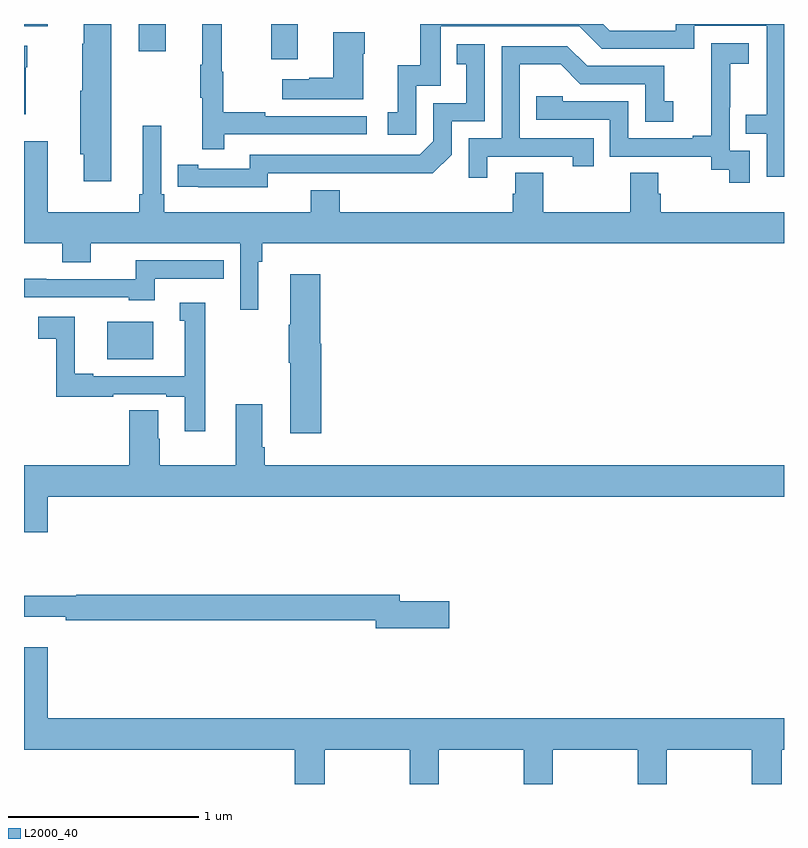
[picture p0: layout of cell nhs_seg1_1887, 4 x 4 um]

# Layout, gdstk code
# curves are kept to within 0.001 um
import gdstk
lib = gdstk.Library(unit=1e-6, precision=1e-09)
def R(c, l, rs):  # rectangles x0, y0, x1, y1
    for r in rs: c.add(gdstk.rectangle(r[:2], r[2:], *l))
def P(c, l, *ps):  # polygons
    for p in ps: c.add(gdstk.Polygon(p, *l))
L2000_40 = (2000, 40)

nhs_seg1_1887 = lib.new_cell('nhs_seg1_1887')
R(nhs_seg1_1887, L2000_40, [(213.437,572.435,213.679,572.632), (214.301,574.014,214.441,574.199), (213.605,574.056,213.745,574.199), (213,574.188,213.124,574.199)])
P(nhs_seg1_1887, L2000_40, [(213.46,574.199),(213.314,574.199),(213.314,574.094),(213.307,574.094),(213.307,573.849),(213.296,573.849),(213.296,573.513),(213.314,573.513),(213.314,573.372),(213.46,573.372)],
  [(217,574.199),(216.431,574.199),(216.431,574.164),(216.084,574.164),(216.049,574.199),(215.085,574.199),(215.085,573.982),(214.967,573.982),(214.967,573.735),(214.914,573.735),(214.914,573.615),(215.064,573.615),(215.064,573.873),(215.193,573.873),(215.193,574.188),(215.922,574.188),(216.042,574.068),(216.528,574.068),(216.528,574.191),(216.909,574.191),(216.909,573.722),(216.799,573.722),(216.799,573.621),(216.909,573.621),(216.909,573.396),(217,573.396)],
  [(214.055,573.618),(214.804,573.618),(214.804,573.714),(214.271,573.714),(214.271,573.734),(214.048,573.734),(214.048,573.948),(214.04,573.948),(214.04,574.198),(213.938,574.198),(213.938,573.985),(213.927,573.985),(213.927,573.811),(213.938,573.811),(213.938,573.54),(214.055,573.54)],
  [(214.786,574.043),(214.794,574.043),(214.794,574.156),(214.628,574.156),(214.628,573.917),(214.502,573.917),(214.502,573.907),(214.359,573.907),(214.359,573.803),(214.786,573.803)],
  [(216.819,573.531),(216.714,573.531),(216.714,573.761),(216.716,573.761),(216.716,573.989),(216.814,573.989),(216.814,574.099),(216.616,574.099),(216.616,573.893),(216.617,573.893),(216.617,573.61),(216.521,573.61),(216.521,573.597),(216.18,573.597),(216.18,573.792),(215.835,573.792),(215.835,573.819),(215.695,573.819),(215.695,573.696),(216.084,573.696),(216.084,573.501),(216.618,573.501),(216.618,573.433),(216.711,573.433),(216.711,573.363),(216.819,573.363)],
  [(214.284,573.414),(215.152,573.413),(215.25,573.51),(215.25,573.687),(215.424,573.687),(215.424,574.093),(215.278,574.093),(215.278,573.987),(215.327,573.987),(215.327,573.783),(215.154,573.783),(215.154,573.582),(215.082,573.51),(214.188,573.51),(214.188,573.438),(213.916,573.438),(213.916,573.458),(213.808,573.458),(213.808,573.342),(214.284,573.341)],
  [(213.01,573.971),(213.018,573.971),(213.018,574.084),(213,574.084),(213,573.724),(213.01,573.724)],
  [(215.437,573.501),(215.888,573.501),(215.888,573.45),(215.999,573.45),(215.999,573.597),(215.61,573.597),(215.61,573.986),(215.824,573.986),(215.928,573.882),(216.27,573.882),(216.27,573.684),(216.418,573.684),(216.418,573.793),(216.369,573.793),(216.369,573.978),(215.965,573.978),(215.86,574.083),(215.514,574.083),(215.514,573.597),(215.34,573.597),(215.34,573.39),(215.437,573.39)],
  [(216.19,573.416),(216.19,573.208),(215.733,573.208),(215.733,573.416),(215.585,573.416),(215.585,573.306),(215.573,573.306),(215.573,573.208),(214.661,573.208),(214.661,573.325),(214.508,573.325),(214.508,573.208),(213.737,573.208),(213.737,573.304),(213.723,573.304),(213.723,573.664),(213.626,573.664),(213.626,573.304),(213.607,573.304),(213.607,573.208),(213.124,573.208),(213.124,573.583),(213,573.583),(213,573.044),(213.2,573.044),(213.2,572.945),(213.352,572.945),(213.352,573.044),(214.137,573.044),(214.137,572.694),(214.234,572.694),(214.234,572.948),(214.253,572.948),(214.253,573.044),(217,573.044),(217,573.208),(216.35,573.208),(216.35,573.306),(216.337,573.306),(216.337,573.416)],
  [(213.688,572.859),(214.052,572.859),(214.052,572.955),(213.589,572.955),(213.589,572.856),(213.116,572.856),(213.116,572.858),(213,572.858),(213,572.76),(213.552,572.76),(213.552,572.744),(213.688,572.744)],
  [(214.564,572.517),(214.559,572.517),(214.559,572.881),(214.4,572.881),(214.4,572.617),(214.393,572.617),(214.393,572.417),(214.4,572.417),(214.4,572.046),(214.564,572.046)],
  [(213.955,572.731),(213.821,572.731),(213.821,572.637),(213.845,572.637),(213.845,572.346),(213.364,572.346),(213.364,572.359),(213.268,572.359),(213.268,572.658),(213.075,572.658),(213.075,572.542),(213.169,572.542),(213.169,572.238),(213.47,572.238),(213.47,572.25),(213.749,572.25),(213.749,572.238),(213.845,572.238),(213.845,572.055),(213.955,572.055)],
  [(213.124,571.712),(217,571.712),(217,571.876),(214.268,571.876),(214.268,571.972),(214.255,571.972),(214.255,572.197),(214.115,572.197),(214.115,571.876),(213.714,571.876),(213.714,572.015),(213.706,572.015),(213.706,572.165),(213.554,572.165),(213.554,571.876),(213,571.876),(213,571.524),(213.124,571.524)],
  [(215.239,571.16),(214.978,571.16),(214.978,571.196),(213.274,571.196),(213.274,571.189),(213,571.189),(213,571.079),(213.22,571.079),(213.22,571.06),(214.85,571.06),(214.85,571.018),(215.239,571.018)],
  [(214.584,570.38),(215.029,570.38),(215.029,570.199),(215.184,570.199),(215.184,570.38),(215.629,570.38),(215.629,570.199),(215.784,570.199),(215.784,570.38),(216.229,570.38),(216.229,570.199),(216.384,570.199),(216.384,570.38),(216.829,570.38),(216.829,570.199),(216.989,570.199),(216.989,570.38),(217,570.38),(217,570.544),(213.124,570.544),(213.124,570.919),(213,570.919),(213,570.38),(214.424,570.38),(214.424,570.199),(214.584,570.199)])

lib.write_gds('nhs_seg1_1887.gds')
